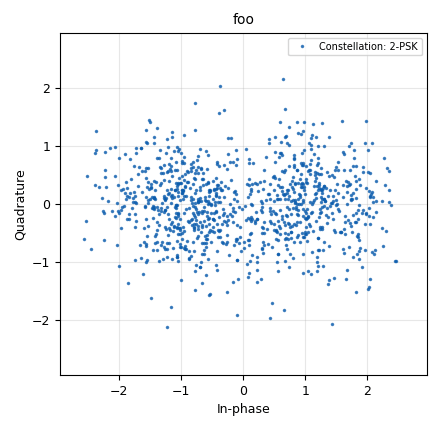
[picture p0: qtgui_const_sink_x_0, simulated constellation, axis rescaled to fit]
<?xml version='1.0' encoding='utf-8'?>
<?grc format='1' created='3.7.11'?>
<flow_graph>
<block>
<key>options</key>
<param><key>id</key><value>top_block</value></param>
<param><key>generate_options</key><value>qt_gui</value></param>
</block>
<block>
<key>variable_qtgui_range</key>
<param><key>id</key><value>EbN0</value></param>
<param><key>value</key><value>1</value></param>
<param><key>label</key><value>Eb / N0 (dB)</value></param>
<param><key>orient</key><value>Qt.Horizontal</value></param>
<param><key>start</key><value>-10</value></param>
<param><key>step</key><value>0.1</value></param>
<param><key>stop</key><value>20</value></param>
</block>
<block>
<key>variable</key>
<param><key>id</key><value>const</value></param>
<param><key>value</key><value>(digital.constellation_bpsk(), digital.constellation_qpsk(), digital.constellation_8psk())</value></param>
</block>
<block>
<key>variable</key>
<param><key>id</key><value>const_type</value></param>
<param><key>value</key><value>0</value></param>
</block>
<block>
<key>variable</key>
<param><key>id</key><value>samp_rate</value></param>
<param><key>value</key><value>32000</value></param>
</block>
<block>
<key>variable</key>
<param><key>id</key><value>samp_rate_0</value></param>
<param><key>value</key><value>100e3</value></param>
</block>
<block>
<key>variable_qtgui_label</key>
<param><key>id</key><value>variable_qtgui_label_0</value></param>
<param><key>value</key><value>{0: 'BPSK', 1: 'QPSK', 2: '8-PSK'}[const_type] + " - Change const_type for different constellation types!"</value></param>
<param><key>label</key><value>Constellation Type</value></param>
<param><key>type</key><value>string</value></param>
</block>
<block>
<key>ITpp_Hamming_Decoder</key>
<param><key>id</key><value>ITpp_Hamming_Decoder_0</value></param>
<param><key>_enabled</key><value>0</value></param>
<param><key>m</key><value>3</value></param>
</block>
<block>
<key>ITpp_Hamming_Encoder</key>
<param><key>id</key><value>ITpp_Hamming_Encoder_0</value></param>
<param><key>_enabled</key><value>0</value></param>
<param><key>m</key><value>3</value></param>
</block>
<block>
<key>analog_noise_source_x</key>
<param><key>id</key><value>analog_noise_source_x</value></param>
<param><key>amp</key><value>1.0 / math.sqrt(const[const_type].bits_per_symbol() * 10**(float(EbN0-2.43)/10))</value></param>
<param><key>comment</key><value>Subtrair -2.43 (-10log(7/4)) se for usando o código.</value></param>
<param><key>_enabled</key><value>0</value></param>
<param><key>noise_type</key><value>analog.GR_GAUSSIAN</value></param>
<param><key>type</key><value>complex</value></param>
<param><key>seed</key><value>42</value></param>
</block>
<block>
<key>analog_noise_source_x</key>
<param><key>id</key><value>analog_noise_source_x_0</value></param>
<param><key>amp</key><value>1.0 / math.sqrt(const[const_type].bits_per_symbol() * 10**(float(EbN0)/10))</value></param>
<param><key>noise_type</key><value>analog.GR_GAUSSIAN</value></param>
<param><key>type</key><value>complex</value></param>
<param><key>seed</key><value>0</value></param>
</block>
<block>
<key>analog_random_source_x</key>
<param><key>id</key><value>analog_random_source_x</value></param>
<param><key>max</key><value>const[const_type].arity()</value></param>
<param><key>min</key><value>0</value></param>
<param><key>num_samps</key><value>10000000</value></param>
<param><key>type</key><value>byte</value></param>
<param><key>repeat</key><value>True</value></param>
</block>
<block>
<key>blks2_error_rate</key>
<param><key>id</key><value>blks2_error_rate</value></param>
<param><key>bits_per_symbol</key><value>const[const_type].bits_per_symbol()</value></param>
<param><key>type</key><value>'BER'</value></param>
<param><key>win_size</key><value>int(1e7)</value></param>
</block>
<block>
<key>blks2_error_rate</key>
<param><key>id</key><value>blks2_error_rate_0</value></param>
<param><key>bits_per_symbol</key><value>const[const_type].bits_per_symbol()</value></param>
<param><key>_enabled</key><value>0</value></param>
<param><key>type</key><value>'BER'</value></param>
<param><key>win_size</key><value>int(1e7)</value></param>
</block>
<block>
<key>blocks_add_xx</key>
<param><key>id</key><value>blocks_add_xx</value></param>
<param><key>type</key><value>complex</value></param>
</block>
<block>
<key>blocks_add_xx</key>
<param><key>id</key><value>blocks_add_xx_0</value></param>
<param><key>_enabled</key><value>0</value></param>
<param><key>type</key><value>complex</value></param>
</block>
<block>
<key>blocks_message_debug</key>
<param><key>id</key><value>blocks_message_debug_0</value></param>
</block>
<block>
<key>blocks_stream_mux</key>
<param><key>id</key><value>blocks_stream_mux_0</value></param>
<param><key>_enabled</key><value>0</value></param>
<param><key>lengths</key><value>1, 1</value></param>
<param><key>type</key><value>complex</value></param>
</block>
<block>
<key>blocks_throttle</key>
<param><key>id</key><value>blocks_throttle</value></param>
<param><key>samples_per_second</key><value>samp_rate*10</value></param>
<param><key>type</key><value>byte</value></param>
</block>
<block>
<key>digital_chunks_to_symbols_xx</key>
<param><key>id</key><value>digital_chunks_to_symbols_xx</value></param>
<param><key>dimension</key><value>1</value></param>
<param><key>in_type</key><value>byte</value></param>
<param><key>out_type</key><value>complex</value></param>
<param><key>symbol_table</key><value>const[const_type].points()</value></param>
</block>
<block>
<key>digital_chunks_to_symbols_xx</key>
<param><key>id</key><value>digital_chunks_to_symbols_xx_0</value></param>
<param><key>dimension</key><value>1</value></param>
<param><key>_enabled</key><value>0</value></param>
<param><key>in_type</key><value>byte</value></param>
<param><key>out_type</key><value>complex</value></param>
<param><key>symbol_table</key><value>const[const_type].points()</value></param>
</block>
<block>
<key>digital_constellation_decoder_cb</key>
<param><key>id</key><value>digital_constellation_decoder_cb_0</value></param>
<param><key>constellation</key><value>const[const_type].base()</value></param>
</block>
<block>
<key>digital_constellation_decoder_cb</key>
<param><key>id</key><value>digital_constellation_decoder_cb_0_0</value></param>
<param><key>constellation</key><value>const[const_type].base()</value></param>
<param><key>_enabled</key><value>0</value></param>
</block>
<block>
<key>digital_mpsk_snr_est_cc</key>
<param><key>id</key><value>digital_mpsk_snr_est_cc_0</value></param>
<param><key>alpha</key><value>0.001</value></param>
<param><key>tag_nsamples</key><value>10000</value></param>
<param><key>type</key><value>3</value></param>
</block>
<block>
<key>digital_probe_mpsk_snr_est_c</key>
<param><key>id</key><value>digital_probe_mpsk_snr_est_c_0</value></param>
<param><key>alpha</key><value>0.001</value></param>
<param><key>msg_nsamples</key><value>10000</value></param>
<param><key>type</key><value>3</value></param>
</block>
<block>
<key>import</key>
<param><key>id</key><value>import</value></param>
<param><key>import</key><value>import math</value></param>
</block>
<block>
<key>qtgui_const_sink_x</key>
<param><key>id</key><value>qtgui_const_sink_x_0</value></param>
<param><key>gui_hint</key><value>2,0,1,1</value></param>
<param><key>alpha1</key><value>0.6</value></param>
<param><key>label1</key><value>"Constellation: "+str(const[const_type].arity()) + "-PSK"</value></param>
<param><key>name</key><value>"foo"</value></param>
<param><key>size</key><value>1024</value></param>
<param><key>type</key><value>complex</value></param>
</block>
<block>
<key>qtgui_number_sink</key>
<param><key>id</key><value>qtgui_number_sink_0</value></param>
<param><key>autoscale</key><value>True</value></param>
<param><key>gui_hint</key><value>1,0,1,1</value></param>
<param><key>graph_type</key><value>qtgui.NUM_GRAPH_HORIZ</value></param>
<param><key>type</key><value>float</value></param>
<param><key>factor1</key><value>1e6</value></param>
<param><key>label1</key><value>BER</value></param>
<param><key>unit1</key><value>x10^-6</value></param>
<param><key>min</key><value>0</value></param>
</block>
<block>
<key>qtgui_number_sink</key>
<param><key>id</key><value>qtgui_number_sink_0_0</value></param>
<param><key>autoscale</key><value>True</value></param>
<param><key>_enabled</key><value>0</value></param>
<param><key>graph_type</key><value>qtgui.NUM_GRAPH_HORIZ</value></param>
<param><key>type</key><value>float</value></param>
<param><key>factor1</key><value>1e6</value></param>
<param><key>label1</key><value>BER (Com Hamming)</value></param>
<param><key>unit1</key><value>x10^-6</value></param>
<param><key>min</key><value>0</value></param>
</block>
<connection><source_block_id>ITpp_Hamming_Decoder_0</source_block_id><sink_block_id>blks2_error_rate_0</sink_block_id><source_key>0</source_key><sink_key>0</sink_key></connection>
<connection><source_block_id>ITpp_Hamming_Encoder_0</source_block_id><sink_block_id>digital_chunks_to_symbols_xx_0</sink_block_id><source_key>0</source_key><sink_key>0</sink_key></connection>
<connection><source_block_id>analog_noise_source_x</source_block_id><sink_block_id>blocks_add_xx_0</sink_block_id><source_key>0</source_key><sink_key>1</sink_key></connection>
<connection><source_block_id>analog_noise_source_x_0</source_block_id><sink_block_id>blocks_add_xx</sink_block_id><source_key>0</source_key><sink_key>1</sink_key></connection>
<connection><source_block_id>analog_random_source_x</source_block_id><sink_block_id>blocks_throttle</sink_block_id><source_key>0</source_key><sink_key>0</sink_key></connection>
<connection><source_block_id>blks2_error_rate</source_block_id><sink_block_id>qtgui_number_sink_0</sink_block_id><source_key>0</source_key><sink_key>0</sink_key></connection>
<connection><source_block_id>blks2_error_rate_0</source_block_id><sink_block_id>qtgui_number_sink_0_0</sink_block_id><source_key>0</source_key><sink_key>0</sink_key></connection>
<connection><source_block_id>blocks_add_xx</source_block_id><sink_block_id>digital_constellation_decoder_cb_0</sink_block_id><source_key>0</source_key><sink_key>0</sink_key></connection>
<connection><source_block_id>blocks_add_xx</source_block_id><sink_block_id>digital_mpsk_snr_est_cc_0</sink_block_id><source_key>0</source_key><sink_key>0</sink_key></connection>
<connection><source_block_id>blocks_add_xx</source_block_id><sink_block_id>qtgui_const_sink_x_0</sink_block_id><source_key>0</source_key><sink_key>0</sink_key></connection>
<connection><source_block_id>blocks_add_xx_0</source_block_id><sink_block_id>digital_constellation_decoder_cb_0_0</sink_block_id><source_key>0</source_key><sink_key>0</sink_key></connection>
<connection><source_block_id>blocks_throttle</source_block_id><sink_block_id>ITpp_Hamming_Encoder_0</sink_block_id><source_key>0</source_key><sink_key>0</sink_key></connection>
<connection><source_block_id>blocks_throttle</source_block_id><sink_block_id>blks2_error_rate</sink_block_id><source_key>0</source_key><sink_key>1</sink_key></connection>
<connection><source_block_id>blocks_throttle</source_block_id><sink_block_id>blks2_error_rate_0</sink_block_id><source_key>0</source_key><sink_key>1</sink_key></connection>
<connection><source_block_id>blocks_throttle</source_block_id><sink_block_id>digital_chunks_to_symbols_xx</sink_block_id><source_key>0</source_key><sink_key>0</sink_key></connection>
<connection><source_block_id>digital_chunks_to_symbols_xx</source_block_id><sink_block_id>blocks_add_xx</sink_block_id><source_key>0</source_key><sink_key>0</sink_key></connection>
<connection><source_block_id>digital_chunks_to_symbols_xx_0</source_block_id><sink_block_id>blocks_add_xx_0</sink_block_id><source_key>0</source_key><sink_key>0</sink_key></connection>
<connection><source_block_id>digital_constellation_decoder_cb_0</source_block_id><sink_block_id>blks2_error_rate</sink_block_id><source_key>0</source_key><sink_key>0</sink_key></connection>
<connection><source_block_id>digital_constellation_decoder_cb_0_0</source_block_id><sink_block_id>ITpp_Hamming_Decoder_0</sink_block_id><source_key>0</source_key><sink_key>0</sink_key></connection>
<connection><source_block_id>digital_mpsk_snr_est_cc_0</source_block_id><sink_block_id>digital_probe_mpsk_snr_est_c_0</sink_block_id><source_key>0</source_key><sink_key>0</sink_key></connection>
<connection><source_block_id>digital_probe_mpsk_snr_est_c_0</source_block_id><sink_block_id>blocks_message_debug_0</sink_block_id><source_key>snr</source_key><sink_key>print</sink_key></connection>
</flow_graph>
